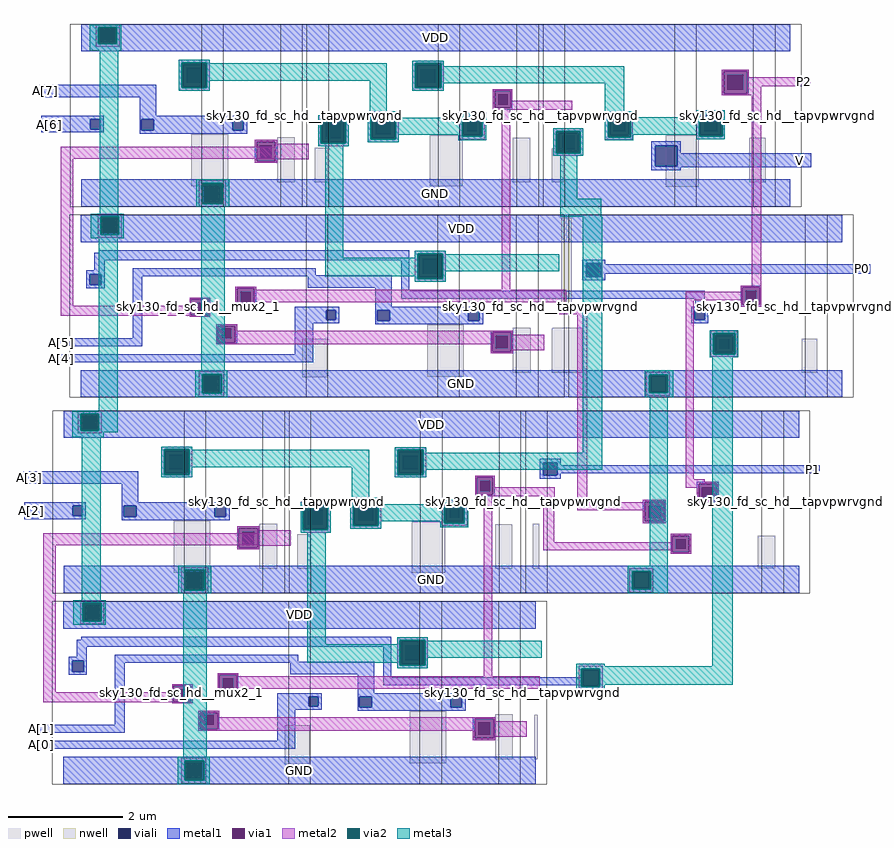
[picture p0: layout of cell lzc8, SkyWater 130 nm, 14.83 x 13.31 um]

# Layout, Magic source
magic
tech sky130A
magscale 1 2
<< nwell >>
rect -952 -1598 -916 -1278
rect -942 -1599 -688 -1598
rect -942 -1600 -772 -1599
<< pwell >>
rect -986 -1154 -944 -1036
rect -586 -1170 -472 -990
rect -294 -1154 -236 -998
rect -982 -1822 -880 -1664
rect -110 -1822 -56 -1702
rect -1052 -2508 -1030 -2350
rect -264 -2506 -204 -2392
<< viali >>
rect -372 -830 -316 -778
rect -770 -976 -728 -936
rect -452 -976 -406 -932
rect -950 -1038 -906 -990
rect -624 -1098 -546 -1026
rect -866 -1486 -812 -1438
rect -306 -1572 -270 -1534
rect -486 -1636 -450 -1602
rect -400 -1738 -364 -1704
rect -1016 -2180 -966 -2136
rect -460 -2258 -420 -2222
rect -646 -2330 -604 -2288
rect -552 -2438 -516 -2404
<< metal1 >>
rect -2634 -696 -150 -600
rect -390 -766 -296 -760
rect -2780 -856 -2432 -812
rect -390 -844 -384 -766
rect -302 -844 -296 -766
rect -390 -850 -296 -844
rect -2774 -980 -2670 -922
rect -788 -924 -710 -918
rect -970 -982 -886 -976
rect -970 -1046 -962 -982
rect -894 -1046 -886 -982
rect -788 -990 -782 -924
rect -716 -990 -710 -924
rect -788 -996 -710 -990
rect -470 -920 -388 -912
rect -470 -988 -464 -920
rect -394 -988 -388 -920
rect -470 -994 -388 -988
rect -970 -1052 -886 -1046
rect -638 -1026 -534 -1010
rect -638 -1098 -624 -1026
rect -546 -1052 -534 -1026
rect -546 -1098 -78 -1052
rect -638 -1102 -78 -1098
rect -638 -1112 -534 -1102
rect -2634 -1240 -150 -1144
rect -2636 -1364 32 -1268
rect -880 -1438 -798 -1426
rect -880 -1486 -866 -1438
rect -812 -1442 -798 -1438
rect -812 -1474 130 -1442
rect -812 -1486 -798 -1474
rect -880 -1498 -798 -1486
rect -324 -1522 -252 -1516
rect -910 -1562 -450 -1534
rect -484 -1590 -450 -1562
rect -324 -1584 -318 -1522
rect -258 -1584 -252 -1522
rect -324 -1590 -252 -1584
rect -498 -1602 -438 -1590
rect -498 -1636 -486 -1602
rect -450 -1636 -438 -1602
rect -498 -1648 -438 -1636
rect -420 -1692 -344 -1684
rect -2720 -1728 -2464 -1700
rect -420 -1750 -412 -1692
rect -352 -1750 -344 -1692
rect -420 -1756 -344 -1750
rect -2718 -1784 -1866 -1756
rect -2636 -1834 32 -1812
rect -2636 -1886 -638 -1834
rect -586 -1886 32 -1834
rect -2636 -1908 32 -1886
rect -2696 -2050 -120 -1954
rect -1028 -2136 -954 -2122
rect -2836 -2210 -2488 -2166
rect -1028 -2180 -1016 -2136
rect -966 -2146 -954 -2136
rect -966 -2174 -48 -2146
rect -966 -2180 -954 -2174
rect -1028 -2192 -954 -2180
rect -478 -2210 -402 -2204
rect -668 -2274 -586 -2266
rect -2834 -2334 -2730 -2276
rect -668 -2342 -660 -2274
rect -592 -2342 -586 -2274
rect -478 -2270 -472 -2210
rect -408 -2270 -402 -2210
rect -478 -2276 -402 -2270
rect -668 -2348 -586 -2342
rect -570 -2392 -498 -2386
rect -570 -2450 -564 -2392
rect -504 -2450 -498 -2392
rect -570 -2456 -498 -2450
rect -2696 -2522 -120 -2498
rect -2696 -2574 -698 -2522
rect -646 -2574 -120 -2522
rect -2696 -2594 -120 -2574
rect -2698 -2718 -1042 -2622
rect -882 -2864 -818 -2858
rect -882 -2888 -876 -2864
rect -962 -2916 -876 -2888
rect -824 -2916 -818 -2864
rect -882 -2922 -818 -2916
rect -2790 -3082 -2534 -3054
rect -2790 -3138 -1938 -3110
rect -2698 -3262 -1042 -3166
<< via1 >>
rect -384 -778 -302 -766
rect -384 -830 -372 -778
rect -372 -830 -316 -778
rect -316 -830 -302 -778
rect -384 -844 -302 -830
rect -962 -990 -894 -982
rect -962 -1038 -950 -990
rect -950 -1038 -906 -990
rect -906 -1038 -894 -990
rect -962 -1046 -894 -1038
rect -782 -936 -716 -924
rect -782 -976 -770 -936
rect -770 -976 -728 -936
rect -728 -976 -716 -936
rect -782 -990 -716 -976
rect -464 -932 -394 -920
rect -464 -976 -452 -932
rect -452 -976 -406 -932
rect -406 -976 -394 -932
rect -464 -988 -394 -976
rect -318 -1534 -258 -1522
rect -318 -1572 -306 -1534
rect -306 -1572 -270 -1534
rect -270 -1572 -258 -1534
rect -318 -1584 -258 -1572
rect -412 -1704 -352 -1692
rect -412 -1738 -400 -1704
rect -400 -1738 -364 -1704
rect -364 -1738 -352 -1704
rect -412 -1750 -352 -1738
rect -638 -1886 -586 -1834
rect -660 -2288 -592 -2274
rect -660 -2330 -646 -2288
rect -646 -2330 -604 -2288
rect -604 -2330 -592 -2288
rect -660 -2342 -592 -2330
rect -472 -2222 -408 -2210
rect -472 -2258 -460 -2222
rect -460 -2258 -420 -2222
rect -420 -2258 -408 -2222
rect -472 -2270 -408 -2258
rect -564 -2404 -504 -2392
rect -564 -2438 -552 -2404
rect -552 -2438 -516 -2404
rect -516 -2438 -504 -2404
rect -564 -2450 -504 -2438
rect -698 -2574 -646 -2522
rect -876 -2916 -824 -2864
<< metal2 >>
rect -390 -766 -296 -760
rect -390 -844 -384 -766
rect -302 -786 -296 -766
rect -302 -818 -80 -786
rect -302 -844 -252 -818
rect -390 -850 -252 -844
rect -800 -918 -702 -908
rect -980 -976 -876 -966
rect -980 -1052 -970 -976
rect -886 -1052 -876 -976
rect -800 -996 -788 -918
rect -710 -996 -702 -918
rect -800 -1006 -702 -996
rect -480 -912 -380 -902
rect -480 -994 -470 -912
rect -388 -994 -380 -912
rect -480 -1004 -380 -994
rect -980 -1062 -876 -1052
rect -286 -1516 -252 -850
rect -324 -1522 -252 -1516
rect -966 -1586 -936 -1530
rect -324 -1538 -318 -1522
rect -516 -1568 -318 -1538
rect -966 -1616 -862 -1586
rect -1022 -2254 -976 -2222
rect -1016 -2416 -978 -2254
rect -896 -2276 -862 -1616
rect -656 -1828 -572 -1818
rect -656 -1892 -644 -1828
rect -580 -1892 -572 -1828
rect -656 -1902 -572 -1892
rect -516 -2194 -488 -1568
rect -324 -1584 -318 -1568
rect -258 -1584 -252 -1522
rect -324 -1590 -252 -1584
rect -430 -1684 -336 -1674
rect -430 -1756 -420 -1684
rect -344 -1756 -336 -1684
rect -430 -1766 -336 -1756
rect -516 -2204 -450 -2194
rect -516 -2210 -402 -2204
rect -516 -2224 -472 -2210
rect -668 -2274 -586 -2266
rect -668 -2276 -660 -2274
rect -896 -2304 -660 -2276
rect -668 -2342 -660 -2304
rect -592 -2342 -586 -2274
rect -478 -2270 -472 -2224
rect -408 -2270 -402 -2210
rect -478 -2276 -402 -2270
rect -668 -2348 -586 -2342
rect -570 -2392 -498 -2386
rect -570 -2416 -564 -2392
rect -1016 -2444 -564 -2416
rect -570 -2450 -564 -2444
rect -504 -2450 -498 -2392
rect -570 -2456 -498 -2450
rect -714 -2516 -630 -2506
rect -714 -2580 -704 -2516
rect -640 -2580 -630 -2516
rect -714 -2590 -630 -2580
rect -892 -2858 -808 -2848
rect -892 -2922 -882 -2858
rect -818 -2922 -808 -2858
rect -892 -2932 -808 -2922
<< via2 >>
rect -970 -982 -886 -976
rect -970 -1046 -962 -982
rect -962 -1046 -894 -982
rect -894 -1046 -886 -982
rect -970 -1052 -886 -1046
rect -788 -924 -710 -918
rect -788 -990 -782 -924
rect -782 -990 -716 -924
rect -716 -990 -710 -924
rect -788 -996 -710 -990
rect -470 -920 -388 -912
rect -470 -988 -464 -920
rect -464 -988 -394 -920
rect -394 -988 -388 -920
rect -470 -994 -388 -988
rect -644 -1834 -580 -1828
rect -644 -1886 -638 -1834
rect -638 -1886 -586 -1834
rect -586 -1886 -580 -1834
rect -644 -1892 -580 -1886
rect -420 -1692 -344 -1684
rect -420 -1750 -412 -1692
rect -412 -1750 -352 -1692
rect -352 -1750 -344 -1692
rect -420 -1756 -344 -1750
rect -704 -2522 -640 -2516
rect -704 -2574 -698 -2522
rect -698 -2574 -646 -2522
rect -646 -2574 -640 -2522
rect -704 -2580 -640 -2574
rect -882 -2864 -818 -2858
rect -882 -2916 -876 -2864
rect -876 -2916 -824 -2864
rect -824 -2916 -818 -2864
rect -882 -2922 -818 -2916
<< metal3 >>
rect -1050 -808 -732 -748
rect -800 -906 -732 -808
rect -800 -918 -700 -906
rect -980 -976 -876 -966
rect -980 -1052 -970 -976
rect -886 -1052 -876 -976
rect -800 -996 -788 -918
rect -710 -926 -700 -918
rect -480 -912 -380 -902
rect -480 -926 -470 -912
rect -710 -988 -470 -926
rect -710 -996 -700 -988
rect -800 -1008 -700 -996
rect -480 -994 -470 -988
rect -388 -994 -380 -912
rect -480 -1004 -380 -994
rect -980 -1062 -876 -1052
rect -956 -1212 -896 -1062
rect -956 -1276 -812 -1212
rect -2572 -2030 -2506 -1336
rect -878 -2102 -810 -1276
rect -432 -1684 -332 -1672
rect -432 -1756 -420 -1684
rect -344 -1756 -332 -1684
rect -432 -1768 -332 -1756
rect -660 -1828 -560 -1812
rect -660 -1892 -644 -1828
rect -580 -1892 -560 -1828
rect -660 -1908 -560 -1892
rect -1086 -2162 -810 -2102
rect -642 -2498 -580 -1908
rect -720 -2516 -580 -2498
rect -720 -2580 -704 -2516
rect -640 -2580 -580 -2516
rect -720 -2594 -580 -2580
rect -900 -2850 -800 -2840
rect -424 -2850 -352 -1768
rect -900 -2858 -352 -2850
rect -900 -2922 -882 -2858
rect -818 -2914 -352 -2858
rect -818 -2922 -800 -2914
rect -900 -2938 -800 -2922
use sky130_fd_sc_hd__tapvpwrvgnd_1  sky130_fd_sc_hd__tapvpwrvgnd_1_0 $PDKPATH/libs.ref/sky130_fd_sc_hd/mag
transform 1 0 -212 0 1 -2546
box -38 -48 130 592
use sky130_fd_sc_hd__tapvpwrvgnd_1  sky130_fd_sc_hd__tapvpwrvgnd_1_2
transform 1 0 -60 0 1 -1860
box -38 -48 130 592
use sky130_fd_sc_hd__tapvpwrvgnd_1  sky130_fd_sc_hd__tapvpwrvgnd_1_3
transform 1 0 -242 0 1 -1192
box -38 -48 130 592
use lzc4  x1
transform 1 0 -2734 0 1 606
box -48 -3868 1786 -2560
use lzc4  x2
transform 1 0 -2672 0 1 1960
box -48 -3868 1786 -2560
use sky130_fd_sc_hd__or2_1  x3 $PDKPATH/libs.ref/sky130_fd_sc_hd/mag
transform 1 0 -978 0 1 -1192
box -38 -48 498 592
use sky130_fd_sc_hd__inv_1  x4 $PDKPATH/libs.ref/sky130_fd_sc_hd/mag
transform 1 0 -518 0 1 -1192
box -38 -48 314 592
use sky130_fd_sc_hd__mux2_1  x5 $PDKPATH/libs.ref/sky130_fd_sc_hd/mag
transform 1 0 -1040 0 1 -2546
box -38 -48 866 592
use sky130_fd_sc_hd__mux2_1  x6
transform 1 0 -888 0 1 -1860
box -38 -48 866 592
<< labels >>
rlabel metal2 -118 -818 -86 -786 1 P2
port 5 n signal output
rlabel metal1 -150 -1102 -86 -1052 1 V
port 6 n signal output
rlabel metal1 84 -1474 124 -1442 1 P0
port 7 n signal output
rlabel metal1 -86 -2174 -52 -2146 1 P1
port 8 n signal output
rlabel metal1 -2634 -696 -150 -600 1 VDD
port 9 n power input
rlabel metal1 -2636 -1364 32 -1268 1 VDD
port 9 n power input
rlabel metal1 -2696 -2050 -120 -1954 1 VDD
port 9 n power input
rlabel metal1 -2698 -2718 -1042 -2622 1 VDD
port 9 n power input
rlabel metal1 -2634 -1240 -150 -1144 1 GND
port 10 n ground output
rlabel metal1 -2696 -2594 -120 -2498 1 GND
port 10 n ground output
rlabel metal1 -2698 -3262 -1042 -3166 1 GND
port 10 n ground output
rlabel metal1 -2636 -1908 32 -1812 1 GND
port 10 n ground output
rlabel metal1 -2778 -856 -2740 -812 1 A[7]
port 19 n signal input
rlabel metal1 -2770 -980 -2722 -922 1 A[6]
port 20 n signal input
rlabel metal1 -2718 -1728 -2690 -1700 1 A[5]
port 21 n signal input
rlabel metal1 -2716 -1784 -2690 -1756 1 A[4]
port 22 n signal input
rlabel metal1 -2834 -2210 -2796 -2166 1 A[3]
port 23 n signal input
rlabel metal1 -2832 -2334 -2786 -2276 1 A[2]
port 24 n signal input
rlabel metal1 -2788 -3082 -2760 -3054 1 A[1]
port 25 n signal input
rlabel metal1 -2788 -3138 -2760 -3110 1 A[0]
port 26 n signal input
<< end >>

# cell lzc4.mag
magic
tech sky130A
<< pwell >>
rect 428 -1557 451 -1497
rect 629 -1564 687 -1475
rect 775 -1557 805 -1479
rect 406 -1899 450 -1831
rect 843 -1891 849 -1813
<< viali >>
rect 613 -1383 639 -1359
rect 749 -1421 766 -1403
rect 447 -1480 473 -1454
rect 535 -1473 561 -1447
rect 695 -1468 712 -1451
rect 34 -1737 54 -1718
rect 298 -1766 316 -1749
rect 217 -1785 236 -1768
rect 265 -1830 282 -1813
<< metal1 >>
rect 19 -1286 847 -1280
rect 19 -1312 52 -1286
rect 78 -1312 847 -1286
rect 19 -1328 847 -1312
rect 603 -1352 649 -1349
rect -24 -1408 31 -1386
rect 603 -1389 607 -1352
rect 646 -1389 649 -1352
rect 603 -1392 649 -1389
rect 740 -1397 774 -1394
rect 740 -1427 743 -1397
rect 771 -1427 774 -1397
rect 740 -1430 774 -1427
rect 526 -1441 570 -1438
rect -17 -1470 10 -1441
rect 438 -1448 482 -1445
rect 438 -1486 441 -1448
rect 479 -1486 482 -1448
rect 526 -1479 529 -1441
rect 567 -1479 570 -1441
rect 686 -1445 721 -1442
rect 686 -1474 689 -1445
rect 718 -1474 721 -1445
rect 686 -1477 721 -1474
rect 526 -1482 570 -1479
rect 438 -1489 482 -1486
rect 19 -1563 847 -1552
rect 19 -1592 234 -1563
rect 262 -1592 847 -1563
rect 19 -1600 847 -1592
rect 18 -1620 846 -1614
rect 18 -1646 56 -1620
rect 82 -1646 846 -1620
rect 18 -1662 846 -1646
rect 50 -1681 593 -1676
rect 42 -1694 593 -1681
rect 42 -1711 60 -1694
rect 28 -1718 60 -1711
rect 28 -1737 34 -1718
rect 54 -1737 60 -1718
rect 28 -1743 60 -1737
rect 109 -1722 430 -1708
rect 109 -1830 126 -1722
rect 289 -1743 325 -1740
rect 209 -1762 245 -1759
rect 209 -1790 211 -1762
rect 242 -1790 245 -1762
rect 289 -1772 292 -1743
rect 322 -1772 325 -1743
rect 579 -1747 593 -1694
rect 579 -1761 893 -1747
rect 289 -1775 325 -1772
rect 209 -1793 245 -1790
rect -2 -1844 126 -1830
rect 255 -1809 292 -1806
rect 255 -1838 258 -1809
rect 289 -1838 292 -1809
rect 255 -1841 292 -1838
rect 393 -1858 425 -1775
rect -1 -1872 425 -1858
rect 18 -1897 846 -1886
rect 18 -1924 234 -1897
rect 261 -1924 846 -1897
rect 18 -1934 846 -1924
<< via1 >>
rect 52 -1312 78 -1286
rect 607 -1359 646 -1352
rect 607 -1383 613 -1359
rect 613 -1383 639 -1359
rect 639 -1383 646 -1359
rect 607 -1389 646 -1383
rect 743 -1403 771 -1397
rect 743 -1421 749 -1403
rect 749 -1421 766 -1403
rect 766 -1421 771 -1403
rect 743 -1427 771 -1421
rect 441 -1454 479 -1448
rect 441 -1480 447 -1454
rect 447 -1480 473 -1454
rect 473 -1480 479 -1454
rect 441 -1486 479 -1480
rect 529 -1447 567 -1441
rect 529 -1473 535 -1447
rect 535 -1473 561 -1447
rect 561 -1473 567 -1447
rect 529 -1479 567 -1473
rect 689 -1451 718 -1445
rect 689 -1468 695 -1451
rect 695 -1468 712 -1451
rect 712 -1468 718 -1451
rect 689 -1474 718 -1468
rect 234 -1592 262 -1563
rect 56 -1646 82 -1620
rect 211 -1768 242 -1762
rect 211 -1785 217 -1768
rect 217 -1785 236 -1768
rect 236 -1785 242 -1768
rect 211 -1790 242 -1785
rect 292 -1749 322 -1743
rect 292 -1766 298 -1749
rect 298 -1766 316 -1749
rect 316 -1766 322 -1749
rect 292 -1772 322 -1766
rect 258 -1813 289 -1809
rect 258 -1830 265 -1813
rect 265 -1830 282 -1813
rect 282 -1830 289 -1813
rect 258 -1838 289 -1830
rect 234 -1924 261 -1897
<< metal2 >>
rect 44 -1286 86 -1281
rect 44 -1315 49 -1286
rect 81 -1315 86 -1286
rect 44 -1320 86 -1315
rect 599 -1349 654 -1344
rect 599 -1392 604 -1349
rect 649 -1392 654 -1349
rect 599 -1397 654 -1392
rect 740 -1397 774 -1394
rect 740 -1427 743 -1397
rect 771 -1414 774 -1397
rect 771 -1427 879 -1414
rect 740 -1430 879 -1427
rect 521 -1438 575 -1433
rect 434 -1445 487 -1440
rect 434 -1489 438 -1445
rect 482 -1489 487 -1445
rect 521 -1482 526 -1438
rect 570 -1482 575 -1438
rect 681 -1442 726 -1437
rect 681 -1477 686 -1442
rect 721 -1477 726 -1442
rect 681 -1482 726 -1477
rect 521 -1487 575 -1482
rect 434 -1494 487 -1489
rect -17 -1516 397 -1495
rect -17 -1773 5 -1516
rect 225 -1559 272 -1554
rect 225 -1595 231 -1559
rect 266 -1595 272 -1559
rect 225 -1600 272 -1595
rect 48 -1617 90 -1612
rect 48 -1649 53 -1617
rect 85 -1649 90 -1617
rect 48 -1654 90 -1649
rect 289 -1743 325 -1740
rect 209 -1762 245 -1759
rect 209 -1773 211 -1762
rect -17 -1790 211 -1773
rect 242 -1790 245 -1762
rect 289 -1772 292 -1743
rect 322 -1745 325 -1743
rect 755 -1745 770 -1430
rect 322 -1767 853 -1745
rect 322 -1772 325 -1767
rect 289 -1775 325 -1772
rect -17 -1791 245 -1790
rect 209 -1793 245 -1791
rect 255 -1809 292 -1806
rect 255 -1838 258 -1809
rect 289 -1817 292 -1809
rect 289 -1838 741 -1817
rect 255 -1841 741 -1838
rect 225 -1893 269 -1888
rect 225 -1927 231 -1893
rect 265 -1927 269 -1893
rect 225 -1933 269 -1927
<< via2 >>
rect 49 -1312 52 -1286
rect 52 -1312 78 -1286
rect 78 -1312 81 -1286
rect 49 -1315 81 -1312
rect 604 -1352 649 -1349
rect 604 -1389 607 -1352
rect 607 -1389 646 -1352
rect 646 -1389 649 -1352
rect 604 -1392 649 -1389
rect 438 -1448 482 -1445
rect 438 -1486 441 -1448
rect 441 -1486 479 -1448
rect 479 -1486 482 -1448
rect 438 -1489 482 -1486
rect 526 -1441 570 -1438
rect 526 -1479 529 -1441
rect 529 -1479 567 -1441
rect 567 -1479 570 -1441
rect 526 -1482 570 -1479
rect 686 -1445 721 -1442
rect 686 -1474 689 -1445
rect 689 -1474 718 -1445
rect 718 -1474 721 -1445
rect 686 -1477 721 -1474
rect 231 -1563 266 -1559
rect 231 -1592 234 -1563
rect 234 -1592 262 -1563
rect 262 -1592 266 -1563
rect 231 -1595 266 -1592
rect 53 -1620 85 -1617
rect 53 -1646 56 -1620
rect 56 -1646 82 -1620
rect 82 -1646 85 -1620
rect 53 -1649 85 -1646
rect 231 -1897 265 -1893
rect 231 -1924 234 -1897
rect 234 -1924 261 -1897
rect 261 -1924 265 -1897
rect 231 -1927 265 -1924
<< metal3 >>
rect 34 -1286 89 -1281
rect 34 -1315 49 -1286
rect 81 -1315 89 -1286
rect 34 -1327 89 -1315
rect 51 -1612 84 -1327
rect 599 -1349 654 -1344
rect 239 -1379 554 -1349
rect 524 -1433 554 -1379
rect 599 -1392 604 -1349
rect 649 -1354 654 -1349
rect 649 -1384 882 -1354
rect 649 -1392 654 -1384
rect 599 -1397 654 -1392
rect 521 -1438 575 -1433
rect 434 -1445 487 -1440
rect 434 -1489 438 -1445
rect 482 -1489 487 -1445
rect 521 -1482 526 -1438
rect 570 -1444 575 -1438
rect 679 -1442 728 -1435
rect 679 -1444 686 -1442
rect 570 -1474 686 -1444
rect 570 -1482 575 -1474
rect 521 -1487 575 -1482
rect 679 -1477 686 -1474
rect 721 -1477 728 -1442
rect 679 -1484 728 -1477
rect 434 -1494 487 -1489
rect 220 -1559 278 -1552
rect 220 -1595 231 -1559
rect 266 -1595 278 -1559
rect 220 -1600 278 -1595
rect 36 -1617 93 -1612
rect 36 -1649 53 -1617
rect 85 -1649 93 -1617
rect 36 -1655 93 -1649
rect 229 -1886 270 -1600
rect 446 -1689 478 -1494
rect 446 -1722 607 -1689
rect 219 -1893 275 -1886
rect 219 -1927 231 -1893
rect 265 -1927 275 -1893
rect 219 -1934 275 -1927
use sky130_fd_sc_hd__tapvpwrvgnd_1  sky130_fd_sc_hd__tapvpwrvgnd_1_0 $PDKPATH/libs.ref/sky130_fd_sc_hd/mag
transform 1 0 801 0 1 -1576
box -19 -24 65 296
use lzc2  x1
transform 1 0 19 0 1 -976
box -19 -624 433 -304
use lzc2  x2
transform 1 0 432 0 1 -1310
box -19 -624 433 -304
use sky130_fd_sc_hd__or2_1  x3 $PDKPATH/libs.ref/sky130_fd_sc_hd/mag
transform 1 0 433 0 1 -1576
box -19 -24 249 296
use sky130_fd_sc_hd__inv_1  x4 $PDKPATH/libs.ref/sky130_fd_sc_hd/mag
transform 1 0 663 0 1 -1576
box -19 -24 157 296
use sky130_fd_sc_hd__mux2_1  x5 $PDKPATH/libs.ref/sky130_fd_sc_hd/mag
transform 1 0 18 0 1 -1910
box -19 -24 433 296
<< labels >>
rlabel metal2 859 -1430 876 -1414 1 P1
port 6 n signal output
rlabel metal1 878 -1761 891 -1747 1 P0
port 7 n signal output
rlabel metal1 19 -1328 847 -1280 1 VDD
port 8 n power input
rlabel metal1 19 -1600 847 -1552 1 GND
port 9 n ground output
rlabel metal1 18 -1662 846 -1614 1 VDD
port 8 n power input
rlabel metal1 18 -1934 846 -1886 1 GND
port 9 n ground output
rlabel metal3 847 -1384 878 -1354 1 V
port 10 n signal output
rlabel metal1 0 -1872 14 -1858 1 A[0]
port 11 n signal input
rlabel metal1 -1 -1844 14 -1830 1 A[1]
port 12 n signal input
rlabel metal1 -15 -1470 1 -1441 1 A[2]
port 13 n signal input
rlabel metal1 -23 -1408 -5 -1386 1 A[3]
port 14 n signal input
<< end >>

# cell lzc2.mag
magic
tech sky130A
<< pwell >>
rect 193 -588 257 -497
rect 343 -581 374 -502
<< viali >>
rect 185 -407 211 -381
rect 16 -488 33 -471
rect 105 -490 127 -471
rect 265 -490 284 -471
rect 313 -538 334 -516
<< metal1 >>
rect 0 -352 414 -304
rect 176 -375 220 -372
rect -16 -432 131 -410
rect 176 -413 179 -375
rect 217 -413 220 -375
rect 176 -416 220 -413
rect 102 -465 131 -432
rect -16 -471 39 -465
rect -16 -488 16 -471
rect 33 -488 39 -471
rect -16 -494 39 -488
rect 102 -471 291 -465
rect 102 -490 105 -471
rect 127 -490 265 -471
rect 284 -490 291 -471
rect 102 -496 291 -490
rect 304 -510 343 -507
rect 304 -544 307 -510
rect 340 -544 343 -510
rect 304 -547 343 -544
rect 0 -624 414 -576
<< via1 >>
rect 179 -381 217 -375
rect 179 -407 185 -381
rect 185 -407 211 -381
rect 211 -407 217 -381
rect 179 -413 217 -407
rect 307 -516 340 -510
rect 307 -538 313 -516
rect 313 -538 334 -516
rect 334 -538 340 -516
rect 307 -544 340 -538
<< metal2 >>
rect 171 -372 225 -367
rect 171 -416 176 -372
rect 220 -416 225 -372
rect 171 -421 225 -416
rect 304 -510 343 -507
rect 304 -544 307 -510
rect 340 -514 343 -510
rect 340 -541 398 -514
rect 340 -544 343 -541
rect 304 -547 343 -544
<< via2 >>
rect 176 -375 220 -372
rect 176 -413 179 -375
rect 179 -413 217 -375
rect 217 -413 220 -375
rect 176 -416 220 -413
<< metal3 >>
rect 171 -372 225 -367
rect 171 -416 176 -372
rect 220 -373 225 -372
rect 220 -403 424 -373
rect 220 -416 225 -403
rect 171 -421 225 -416
use sky130_fd_sc_hd__tapvpwrvgnd_1  sky130_fd_sc_hd__tapvpwrvgnd_1_0 $PDKPATH/libs.ref/sky130_fd_sc_hd/mag
transform 1 0 368 0 1 -600
box -19 -24 65 296
use sky130_fd_sc_hd__or2_1  x1 $PDKPATH/libs.ref/sky130_fd_sc_hd/mag
transform 1 0 0 0 1 -600
box -19 -24 249 296
use sky130_fd_sc_hd__inv_1  x2 $PDKPATH/libs.ref/sky130_fd_sc_hd/mag
transform 1 0 230 0 1 -600
box -19 -24 157 296
<< labels >>
rlabel metal1 0 -624 414 -576 1 GND
port 6 n ground output
rlabel metal1 0 -352 414 -304 1 VDD
port 7 n power input
rlabel metal1 -14 -494 5 -465 1 LO
port 10 n signal input
rlabel metal1 -14 -432 10 -410 1 HI
port 11 n signal input
rlabel metal2 367 -541 394 -514 1 P
port 12 n signal output
rlabel metal3 391 -403 421 -373 1 V
port 13 n signal output
<< end >>
